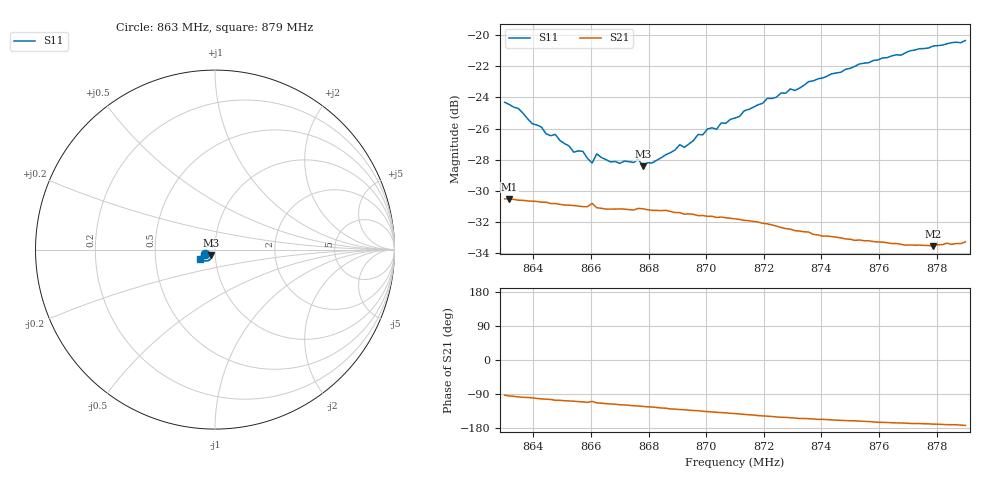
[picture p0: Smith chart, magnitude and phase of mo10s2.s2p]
# HZ S RI R 50
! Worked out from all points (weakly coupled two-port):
!   101 points, 863 MHz to 879 MHz, reference 50 ohm
!   highest |S21| = -30.52 dB at 863.16 MHz (marker M1); lowest = -33.6 dB at 877.88 MHz (marker M2)
!   lowest |S11| = -28.4 dB at 867.8 MHz (marker M3), VSWR 1.08, Z = 47.6 - j2.79 ohm
!   |S11| at or under -10 dB: start of sweep to end of sweep
!   S12 and S22 are empty: the file has one direction only
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8.63e8  -0.0559 -0.0242  -0.00146 -0.0298  0 0  0 0
8.6316e8  -0.0552 -0.0232  -0.0026 -0.0297  0 0  0 0
8.6444e8  -0.0436 -0.0206  -0.00677 -0.0283  0 0  0 0
8.6476e8  -0.0424 -0.0225  -0.00813 -0.0276  0 0  0 0
8.654e8  -0.0355 -0.0227  -0.00908 -0.0269  0 0  0 0
8.6572e8  -0.0351 -0.0237  -0.00985 -0.0264  0 0  0 0
8.6604e8  -0.0296 -0.0251  -0.00943 -0.0272  0 0  0 0
8.662e8  -0.0337 -0.0244  -0.011 -0.0256  0 0  0 0
8.67e8  -0.0281 -0.0267  -0.013 -0.0244  0 0  0 0
8.6764e8  -0.0256 -0.0307  -0.0144 -0.0237  0 0  0 0
8.678e8  -0.0241 -0.0293  -0.0148 -0.0234  0 0  0 0
8.6844e8  -0.0221 -0.0338  -0.0163 -0.0219  0 0  0 0
8.6908e8  -0.022 -0.0387  -0.0176 -0.0204  0 0  0 0
8.6924e8  -0.0212 -0.0382  -0.0175 -0.02  0 0  0 0
8.7004e8  -0.022 -0.0448  -0.0189 -0.0181  0 0  0 0
8.7036e8  -0.0211 -0.0452  -0.0193 -0.0174  0 0  0 0
8.71e8  -0.0238 -0.0487  -0.0201 -0.016  0 0  0 0
8.7212e8  -0.0279 -0.0561  -0.0211 -0.0131  0 0  0 0
8.7372e8  -0.0374 -0.0608  -0.0209 -0.00949  0 0  0 0
8.7644e8  -0.0597 -0.0616  -0.0207 -0.00534  0 0  0 0
8.7788e8  -0.0732 -0.0563  -0.0206 -0.00393  0 0  0 0
8.79e8  -0.0821 -0.0501  -0.0215 -0.00278  0 0  0 0
